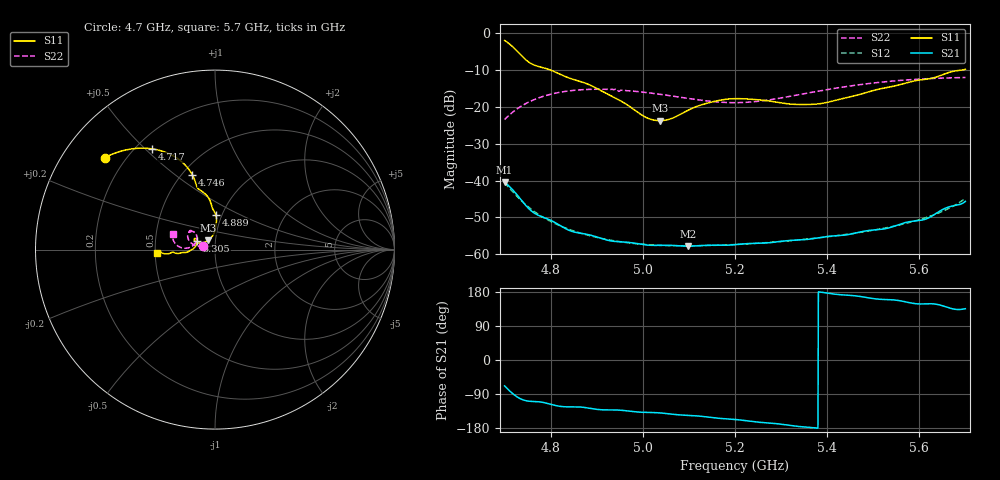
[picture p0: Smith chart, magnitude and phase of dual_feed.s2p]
! TOUCHSTONE file generated by CST MICROWAVE STUDIO
! Date and time: Sun Dec 29 03:46:56 2024
! Project name: dual_feed.cst
! Parameters = {airCoaxOuterDiameter=3; connectorLength=10; drillingHoleDiameter=4.1; feedLength=160; gratingDistance=60.8133; gratingGap=5.2; probe1Diameter=1.3; probe1Distance=15.62; probe1Length=12.32; probe2Diameter=1.3; probe2Distance=15.62; probe2Length=12.32; smaInnerDiameter=1.3; smaOuterDia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
! Header version: 2024
! Port assignment regex: !\s*Touchstone port\s*([0-9]+)\s*=\s*(CST MWS port|CST DES external port|CST DES block port)\s*(.+)\s* \(\"(.*)\"\)(\s*mode\s*([0-9]+))?.*
! Touchstone port assignment:
! Touchstone port 1 = CST MWS port 1 ("Input1")
! Touchstone port 2 = CST MWS port 2 ("Input2")
# GHz S MA R 50
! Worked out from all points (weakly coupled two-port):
!   1001 points, 4.7 GHz to 5.7 GHz, reference 50 ohm
!   highest |S21| = -40.47 dB at 4.7 GHz (marker M1); lowest = -57.8 dB at 5.098 GHz (marker M2)
!   lowest |S11| = -23.7 dB at 5.037 GHz (marker M3), VSWR 1.14, Z = 46 + j4.81 ohm
!   |S11| at or under -10 dB: 4.8 GHz to 5.691 GHz (891.1 MHz wide, 17 % of centre)
!   |S22| runs from -23.4 to -12.0 dB; largest |S21 - S12| = 0.00068
!   S11 on the Smith chart (normalised r, x): 4.7 GHz: 0.13, +0.36; 4.717 GHz: 0.26, +0.53; 4.746 GHz: 0.56, +0.58; 4.889 GHz: 0.94, +0.38; 5.305 GHz: 0.81, +0.08; 5.7 GHz: 0.51, -0.02
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4.7  0.8001 140.3  0.009479 -68.4  0.009309 -72.4  0.0673 165.0
4.717  0.6609 121.9  0.007557 -88.1  0.007094 -88.5  0.08433 168.1
4.731  0.5401 111.8  0.005969 -100.2  0.005748 -97.5  0.09749 168.5
4.746  0.4372 106.9  0.004592 -107.3  0.0047 -104.4  0.111 167.9
4.766  0.3667 106.1  0.003565 -109.6  0.00374 -110.6  0.1271 166.3
4.799  0.3181 100.4  0.00291 -116.5  0.002802 -117.2  0.1482 162.1
4.839  0.2485 94.6  0.002122 -123.6  0.002184 -122.7  0.1648 156.6
4.867  0.2191 92.2  0.001916 -124.3  0.001914 -125.9  0.1715 152.7
4.889  0.1934 88.8  0.001799 -128.2  0.001757 -128.1  0.1735 150.0
4.93  0.1419 87.6  0.001518 -131.8  0.001549 -131.8  0.1727 145.6
5.005  0.07306 104.6  0.001339 -138.2  0.001355 -137.7  0.1576 140.3
5.034  0.06525 124.8  0.00132 -139.3  0.001322 -140.1  0.1495 139.8
5.037  0.06519 126.9  0.001321 -139.6  0.001319 -140.3  0.1486 139.7
5.062  0.06957 143.5  0.001319 -142.8  0.001305 -142.6  0.1411 140.0
5.098  0.09013 156.6  0.001286 -146.1  0.0013 -146.1  0.1306 141.9
5.148  0.1161 157.7  0.001326 -151.7  0.001315 -151.4  0.1191 147.6
5.2  0.1297 153.2  0.001347 -156.9  0.001353 -157.4  0.1143 156.7
5.305  0.1122 153.5  0.001509 -170.2  0.001497 -170.5  0.1342 173.4
5.367  0.1085 166.6  0.001619 -178.3  0.001631 -178.8  0.1582 177.2
5.534  0.1857 -174.7  0.002279 159.3  0.002325 158.5  0.2225 171.7
5.63  0.2477 -175.6  0.003373 148.2  0.003398 145.4  0.2441 164.8
5.7  0.3241 -176.9  0.005222 135.3  0.00572 133.4  0.2512 159.8
